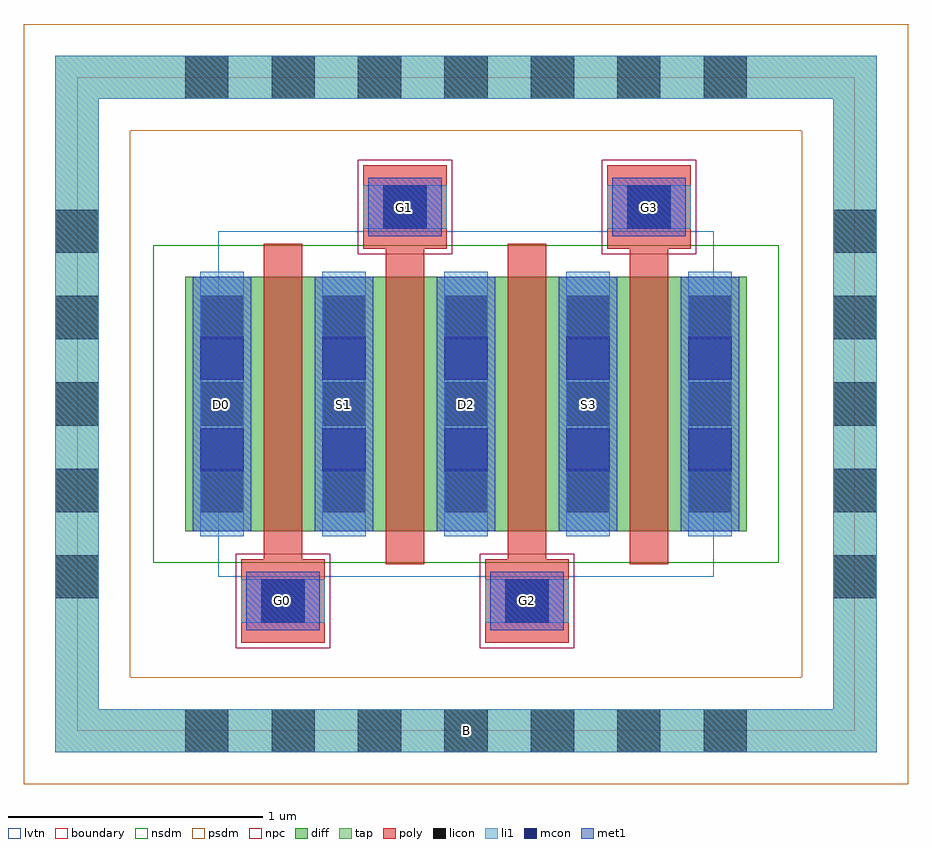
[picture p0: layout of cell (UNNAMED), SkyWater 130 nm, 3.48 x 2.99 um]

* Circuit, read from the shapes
.subckt (UNNAMED) B D0 D2 G0 G1 G2 G3 S1 S3
XM1 S1 G0 D0 B sky130_fd_pr__nfet_01v8_lvt w=1 l=0.15
XM2 D2 G1 S1 B sky130_fd_pr__nfet_01v8_lvt w=1 l=0.15
XM3 S3 G2 D2 B sky130_fd_pr__nfet_01v8_lvt w=1 l=0.15
XM4 n1 G3 S3 B sky130_fd_pr__nfet_01v8_lvt w=1 l=0.15
.ends

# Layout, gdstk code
import gdstk
lib = gdstk.Library(unit=1e-6, precision=1e-09)
def R(c, l, rs):  # rectangles x0, y0, x1, y1
    for r in rs: c.add(gdstk.rectangle(r[:2], r[2:], *l))
def A(c, l, x, y, w, h, nx, ny, dx, dy):  # array of equal rectangles
    R(c, l, [(x+i*dx, y+j*dy, x+i*dx+w, y+j*dy+h) for i in range(nx) for j in range(ny)])
diff = (65, 20)
tap = (65, 44)
poly = (66, 20)
licon = (66, 44)
li1 = (67, 20)
mcon = (67, 44)
met1 = (68, 20)
nsdm = (93, 44)
psdm = (94, 20)
npc = (95, 20)
lvtn = (125, 44)
boundary = (235, 4)

c__unnamed_ = lib.new_cell('(UNNAMED)')
R(c__unnamed_, diff, [(-1.105,-0.5,1.105,0.5)])
R(c__unnamed_, tap, [(-1.615,-1.37,1.615,-1.2), (-1.615,-1.2,-1.445,1.2), (1.445,-1.2,1.615,1.2), (-1.615,1.2,1.615,1.37)])
R(c__unnamed_, poly, [(-0.885,-0.94,-0.555,-0.61), (0.075,-0.94,0.405,-0.61), (-0.315,-0.63,-0.165,0.61), (0.645,-0.63,0.795,0.61), (-0.795,-0.61,-0.645,0.63), (0.165,-0.61,0.315,0.63), (-0.405,0.61,-0.075,0.94), (0.555,0.61,0.885,0.94)])
A(c__unnamed_, licon, -1.105, -1.37, 0.17, 0.17, 7, 2, 0.34, 2.57)
A(c__unnamed_, licon, -1.615, -0.765, 0.17, 0.17, 1, 5, 0, 0.34)
A(c__unnamed_, licon, 1.445, -0.765, 0.17, 0.17, 1, 5, 0, 0.34)
A(c__unnamed_, licon, -1.045, -0.425, 0.17, 0.17, 5, 3, 0.48, 0.34)
R(c__unnamed_, licon, [(-0.805,-0.86,-0.635,-0.69), (0.155,-0.86,0.325,-0.69), (-0.325,0.69,-0.155,0.86), (0.635,0.69,0.805,0.86)])
A(c__unnamed_, li1, -1.045, -0.52, 0.17, 1.04, 5, 1, 0.48, 0)
R(c__unnamed_, li1, [(-1.615,-1.37,1.615,-1.2), (-1.615,-1.2,-1.445,1.2), (1.445,-1.2,1.615,1.2), (-0.885,-0.86,-0.555,-0.69), (0.075,-0.86,0.405,-0.69), (-0.405,0.69,-0.075,0.86), (0.555,0.69,0.885,0.86), (-1.615,1.2,1.615,1.37)])
A(c__unnamed_, mcon, -1.045, -0.265, 0.17, 0.17, 5, 2, 0.48, 0.36)
R(c__unnamed_, mcon, [(-0.805,-0.86,-0.635,-0.69), (0.155,-0.86,0.325,-0.69), (-0.325,0.69,-0.155,0.86), (0.635,0.69,0.805,0.86)])
A(c__unnamed_, met1, -1.075, -0.5, 0.23, 1, 5, 1, 0.48, 0)
R(c__unnamed_, met1, [(-0.865,-0.89,-0.575,-0.66), (0.095,-0.89,0.385,-0.66), (-0.385,0.66,-0.095,0.89), (0.575,0.66,0.865,0.89)])
R(c__unnamed_, nsdm, [(-1.23,-0.625,1.23,0.625)])
R(c__unnamed_, psdm, [(-1.74,-1.495,1.74,-1.075), (-1.74,-1.075,-1.32,1.075), (1.32,-1.075,1.74,1.075), (-1.74,1.075,1.74,1.495)])
R(c__unnamed_, npc, [(-0.905,-0.96,-0.535,-0.59), (0.055,-0.96,0.425,-0.59), (-0.425,0.59,-0.055,0.96), (0.535,0.59,0.905,0.96)])
R(c__unnamed_, lvtn, [(-0.975,-0.68,0.975,0.68)])
R(c__unnamed_, boundary, [(-1.53,-1.285,1.53,1.285)])
c__unnamed_.add(gdstk.Label('B', (0,-1.285), layer=67, texttype=5))
c__unnamed_.add(gdstk.Label('D0', (-0.96,0), layer=67, texttype=5))
c__unnamed_.add(gdstk.Label('G0', (-0.72,-0.775), layer=67, texttype=5))
c__unnamed_.add(gdstk.Label('S1', (-0.48,0), layer=67, texttype=5))
c__unnamed_.add(gdstk.Label('G1', (-0.24,0.775), layer=67, texttype=5))
c__unnamed_.add(gdstk.Label('D2', (0,0), layer=67, texttype=5))
c__unnamed_.add(gdstk.Label('G2', (0.24,-0.775), layer=67, texttype=5))
c__unnamed_.add(gdstk.Label('S3', (0.48,0), layer=67, texttype=5))
c__unnamed_.add(gdstk.Label('G3', (0.72,0.775), layer=67, texttype=5))

lib.write_gds('_UNNAMED_.gds')
